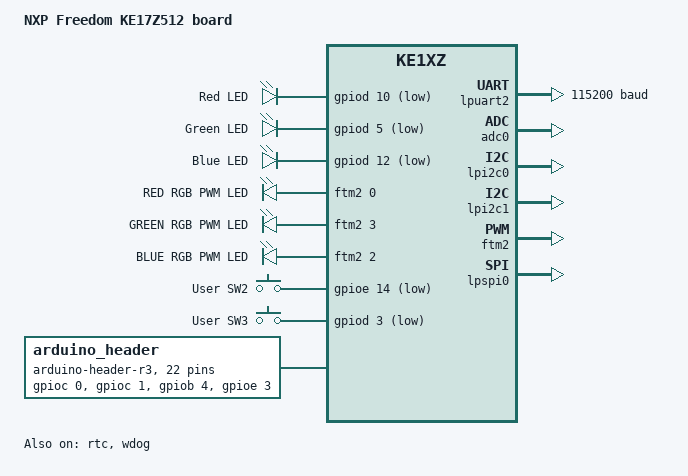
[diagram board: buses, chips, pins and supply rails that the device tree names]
/*
 * Copyright 2024 NXP
 *
 * SPDX-License-Identifier: Apache-2.0
 */

/dts-v1/;

#include <nxp/nxp_ke17z512.dtsi>
#include "frdm_ke17z512-pinctrl.dtsi"
#include <zephyr/dt-bindings/gpio/arduino-header-r3.h>
#include <zephyr/dt-bindings/input/input-event-codes.h>
#include <zephyr/dt-bindings/pwm/pwm.h>

/ {
	model = "NXP Freedom KE17Z512 board";
	compatible = "nxp,ke17z512", "nxp,mke17z9", "nxp,ke1xz";

	chosen {
		zephyr,sram = &sram_u;
		zephyr,flash = &flash0;
		zephyr,code-partition = &slot0_partition;
		zephyr,uart-mcumgr = &lpuart2;
		zephyr,console = &lpuart2;
		zephyr,shell-uart = &lpuart2;
	};

	aliases {
		watchdog0 = &wdog;
		led0 = &red_led;
		led1 = &green_led;
		led2 = &blue_led;
		sw0 = &user_button_2;
		sw1 = &user_button_3;
		pwm-led0 = &red_pwm_led;
		pwm-led1 = &green_pwm_led;
		pwm-led2 = &blue_pwm_led;
		mcuboot-button0 = &user_button_2;
	};

	leds {
		compatible = "gpio-leds";
		red_led: led_0 {
			gpios = <&gpiod 10 GPIO_ACTIVE_LOW>;
			label = "Red LED";
		};
		green_led: led_1 {
			gpios = <&gpiod 5 GPIO_ACTIVE_LOW>;
			label = "Green LED";
		};
		blue_led: led_2 {
			gpios = <&gpiod 12 GPIO_ACTIVE_LOW>;
			label = "Blue LED";
		};
	};

	pwmleds {
		compatible = "pwm-leds";
		red_pwm_led: led_pwm_0 {
			pwms = <&ftm2 0 PWM_HZ(20) PWM_POLARITY_INVERTED>;
			label = "RED RGB PWM LED";
		};
		green_pwm_led: led_pwm_1 {
			pwms = <&ftm2 3 PWM_MSEC(20) PWM_POLARITY_INVERTED>;
			label = "GREEN RGB PWM LED";
		};
		blue_pwm_led: led_pwm_2 {
			pwms = <&ftm2 2 PWM_MSEC(20) PWM_POLARITY_INVERTED>;
			label = "BLUE RGB PWM LED";
		};
	};

	gpio_keys {
		compatible = "gpio-keys";
		user_button_2: button_0 {
			label = "User SW2";
			gpios = <&gpioe 14 GPIO_ACTIVE_LOW>;
			zephyr,code = <INPUT_KEY_0>;
		};
		user_button_3: button_1 {
			label = "User SW3";
			gpios = <&gpiod 3 GPIO_ACTIVE_LOW>;
			zephyr,code = <INPUT_KEY_1>;
		};
	};

	arduino_header: arduino-connector {
		compatible = "arduino-header-r3";
		#gpio-cells = <2>;
		gpio-map-mask = <0xffffffff 0xffffffc0>;
		gpio-map-pass-thru = <0 0x3f>;
		gpio-map = <ARDUINO_HEADER_R3_A0 0 &gpioc 0 0>,
			   <ARDUINO_HEADER_R3_A1 0 &gpioc 1 0>,
			   <ARDUINO_HEADER_R3_A2 0 &gpiob 4 0>,
			   <ARDUINO_HEADER_R3_A3 0 &gpioe 3 0>,
			   <ARDUINO_HEADER_R3_A4 0 &gpioc 16 0>,
			   <ARDUINO_HEADER_R3_A5 0 &gpioc 17 0>,
			   <ARDUINO_HEADER_R3_D0 0 &gpioc 6 0>,
			   <ARDUINO_HEADER_R3_D1 0 &gpioc 7 0>,
			   <ARDUINO_HEADER_R3_D2 0 &gpiob 9 0>,
			   <ARDUINO_HEADER_R3_D3 0 &gpioe 4 0>,
			   <ARDUINO_HEADER_R3_D4 0 &gpioc 14 0>,
			   <ARDUINO_HEADER_R3_D5 0 &gpioa 15 0>,
			   <ARDUINO_HEADER_R3_D6 0 &gpioa 17 0>,
			   <ARDUINO_HEADER_R3_D7 0 &gpioa 14 0>,
			   <ARDUINO_HEADER_R3_D8 0 &gpioa 9 0>,
			   <ARDUINO_HEADER_R3_D9 0 &gpiob 11 0>,
			   <ARDUINO_HEADER_R3_D10 0 &gpioe 6 0>,
			   <ARDUINO_HEADER_R3_D11 0 &gpioe 2 0>,
			   <ARDUINO_HEADER_R3_D12 0 &gpioe 1 0>,
			   <ARDUINO_HEADER_R3_D13 0 &gpioe 0 0>,
			   <ARDUINO_HEADER_R3_D14 0 &gpioa 2 0>,
			   <ARDUINO_HEADER_R3_D15 0 &gpioa 3 0>;
	};
};

&idle {
	min-residency-us = <1>;
};

&stop {
	min-residency-us = <20000>;
	exit-latency-us = <13>;
};

&lpuart2 {
	dmas = <&edma 5 6>, <&edma 6 7>;
	dma-names = "rx", "tx";
	status = "okay";
	pinctrl-0 = <&lpuart2_default>;
	pinctrl-names = "default";
	current-speed = <115200>;
};

&adc0 {
	status = "okay";
	sample-time = <12>;
	vref-mv = <3300>;
	pinctrl-0 = <&adc0_default>;
	pinctrl-names = "default";
};

&gpiod {
	status = "okay";
};

&scg {
	bus_clk {
		clock-div = <2>;
	};
};

&gpioe {
	status = "okay";
};

&rtc {
	status = "okay";
	clock-source = "LPO";
};

&lpi2c0 {
	status = "okay";
	pinctrl-0 = <&lpi2c0_default>;
	pinctrl-names = "default";
};

&lpi2c1 {
	status = "okay";
	pinctrl-0 = <&lpi2c1_default>;
	pinctrl-names = "default";
};

&ftm2 {
	status = "okay";
	compatible = "nxp,ftm-pwm";
	#pwm-cells = <3>;
	clocks = <&scg KINETIS_SCG_SIRC_CLK>;
	prescaler = <128>;
	pinctrl-0 = <&ftm2_default>;
	pinctrl-names = "default";
	clock-source = "system";
};

&flash0 {

	partitions {
		compatible = "fixed-partitions";
		#address-cells = <1>;
		#size-cells = <1>;

		/*
		 * Partition sizes must be aligned
		 * to the flash memory sector size of 2KB.
		 */
		boot_partition: partition@0 {
			label = "mcuboot";
			reg = <0x00000000 DT_SIZE_K(64)>;
			read-only;
		};
		slot0_partition: partition@10000 {
			label = "image-0";
			reg = <0x00010000 DT_SIZE_K(204)>;
		};
		slot1_partition: partition@43000 {
			label = "image-1";
			reg = <0x00043000 DT_SIZE_K(204)>;
		};
		storage_partition: partition@76000 {
			label = "storage";
			reg = <0x00076000 DT_SIZE_K(40)>;
		};
	};
};

&lpspi0 {
	dmas = <&edma 0 14>, <&edma 1 15>;
	dma-names = "rx", "tx";
	status = "okay";
	pinctrl-0 = <&lpspi0_default>;
	pinctrl-names = "default";
};

&edma {
	status = "okay";
};

&wdog {
	status = "okay";
};
